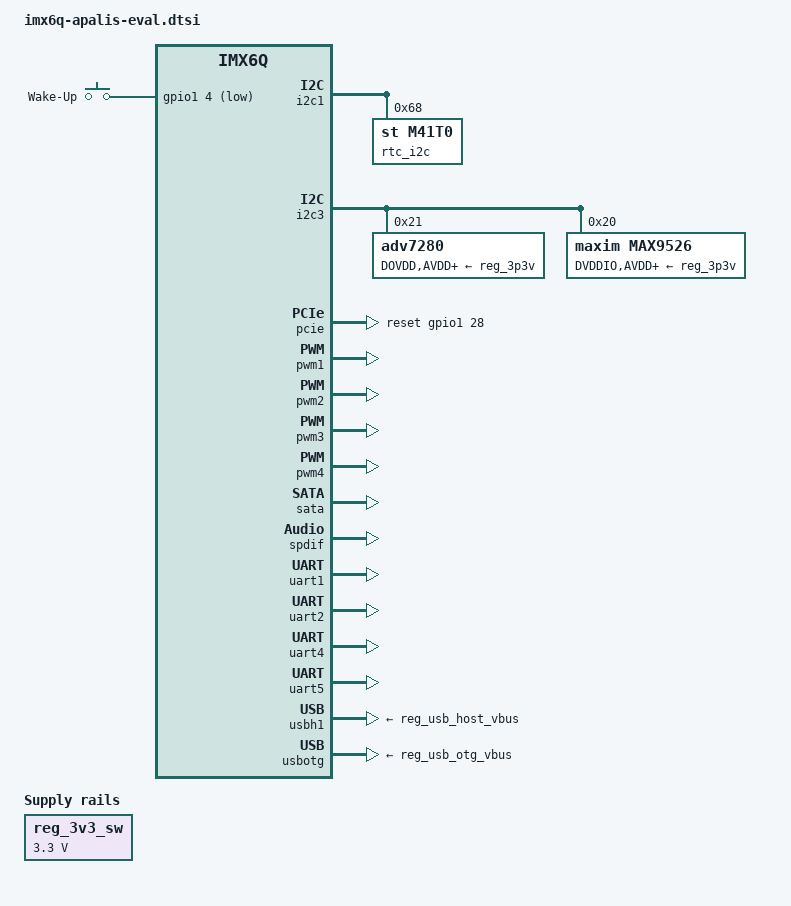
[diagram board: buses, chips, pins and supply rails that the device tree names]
// SPDX-License-Identifier: GPL-2.0-or-later OR MIT
/*
 * Copyright 2014-2024 Toradex
 */

#include <dt-bindings/gpio/gpio.h>
#include <dt-bindings/input/input.h>
#include <dt-bindings/interrupt-controller/irq.h>
#include <dt-bindings/pwm/pwm.h>
#include "imx6q.dtsi"
#include "imx6qdl-apalis.dtsi"

/ {
	aliases {
		i2c0 = &i2c1;
		i2c1 = &i2c3;
		i2c2 = &i2c2;
		rtc0 = &rtc_i2c;
		rtc1 = &snvs_rtc;
	};

	chosen {
		stdout-path = "serial0:115200n8";
	};

	gpio-keys {
		compatible = "gpio-keys";
		pinctrl-names = "default";
		pinctrl-0 = <&pinctrl_gpio_keys>;

		wakeup {
			label = "Wake-Up";
			gpios = <&gpio1 4 GPIO_ACTIVE_LOW>;
			linux,code = <KEY_WAKEUP>;
			debounce-interval = <10>;
			wakeup-source;
		};
	};

	reg_3v3_sw: regulator-3v3-sw {
		compatible = "regulator-fixed";
		regulator-always-on;
		regulator-max-microvolt = <3300000>;
		regulator-min-microvolt = <3300000>;
		regulator-name = "3.3V_SW";
	};
};

&i2c1 {
	#address-cells = <1>;
	#size-cells = <0>;
	status = "okay";

	/* M41T0M6 real time clock on carrier board */
	rtc_i2c: rtc@68 {
		compatible = "st,m41t0";
		reg = <0x68>;
	};
};

/*
 * I2C3_SDA/SCL (CAM) on MXM3 pin 201/203 (e.g. camera sensor on carrier
 * board)
 */
&i2c3 {
	status = "okay";

	adv7280: adv7280@21 {
		compatible = "adv7280";
		reg = <0x21>;
		pinctrl-names = "default";
		pinctrl-0 = <&pinctrl_ipu1_csi0 &pinctrl_cam_mclk>;
		clocks = <&clks IMX6QDL_CLK_CKO2>;
		clock-names = "csi_mclk";
		DOVDD-supply = <&reg_3p3v>;
		AVDD-supply = <&reg_3p3v>;
		DVDD-supply = <&reg_3p3v>;
		PVDD-supply = <&reg_3p3v>;
		csi_id = <0>;
		mclk = <24000000>;
		mclk_source = <1>;
		status = "okay";
	};

	/* Video ADC on Analog Camera Module */
	adv7180: adv7180@21 {
		compatible = "adv,adv7180";
		reg = <0x21>;
		pinctrl-names = "default";
		pinctrl-0 = <&pinctrl_ipu1_csi0 &pinctrl_cam_mclk>;
		clocks = <&clks IMX6QDL_CLK_CKO2>;
		clock-names = "csi_mclk";
		DOVDD-supply = <&reg_3p3v>; /* 3.3v */
		AVDD-supply = <&reg_3p3v>;  /* 1.8v */
		DVDD-supply = <&reg_3p3v>;  /* 1.8v */
		PVDD-supply = <&reg_3p3v>;  /* 1.8v */
		csi_id = <0>;
		mclk = <24000000>;
		mclk_source = <1>;
		cvbs = <1>;
		status = "disabled";
	};

	max9526: max9526@20 {
		compatible = "maxim,max9526";
		reg = <0x20>;
		pinctrl-names = "default";
		pinctrl-0 = <&pinctrl_ipu1_csi0 &pinctrl_cam_mclk>;
		clocks = <&clks IMX6QDL_CLK_CKO2>;
		clock-names = "csi_mclk";
		DVDDIO-supply = <&reg_3p3v>; /* 3.3v */
		AVDD-supply = <&reg_3p3v>;  /* 1.8v */
		DVDD-supply = <&reg_3p3v>;  /* 1.8v */
		csi_id = <0>;
		mclk = <24000000>;
		mclk_source = <1>;
		cvbs = <1>;
		status = "okay";
	};
};

&pcie {
	pinctrl-names = "default";
	pinctrl-0 = <&pinctrl_reset_moci>;
	/* active-high meaning opposite of regular PERST# active-low polarity */
	reset-gpio = <&gpio1 28 GPIO_ACTIVE_HIGH>;
	reset-gpio-active-high;
};

&pwm1 {
	status = "okay";
};

&pwm2 {
	status = "okay";
};

&pwm3 {
	status = "okay";
};

&pwm4 {
	status = "okay";
};

&reg_usb_host_vbus {
	status = "okay";
};

&reg_usb_otg_vbus {
	status = "okay";
};

&sata {
	status = "okay";
};

&spdif {
	status = "okay";
};

&uart1 {
	status = "okay";
};

&uart2 {
	status = "okay";
#if 0
	linux,rs485-enabled-at-boot-time;
	rs485-rts-active-low;
	rs485-rx-during-tx;
#endif
};

&uart4 {
	status = "okay";
};

&uart5 {
	status = "okay";
};

&usbh1 {
	disable-over-current;
	vbus-supply = <&reg_usb_host_vbus>;
	status = "okay";
};

&usbotg {
	disable-over-current;
	vbus-supply = <&reg_usb_otg_vbus>;
	status = "okay";
};

&iomuxc {
	/* Mux the Apalis GPIOs */
	pinctrl-names = "default";
	pinctrl-0 = <&pinctrl_apalis_gpio1 &pinctrl_apalis_gpio2
		     &pinctrl_apalis_gpio3 &pinctrl_apalis_gpio4
		     &pinctrl_apalis_gpio7 &pinctrl_apalis_gpio8
		    >;
};
